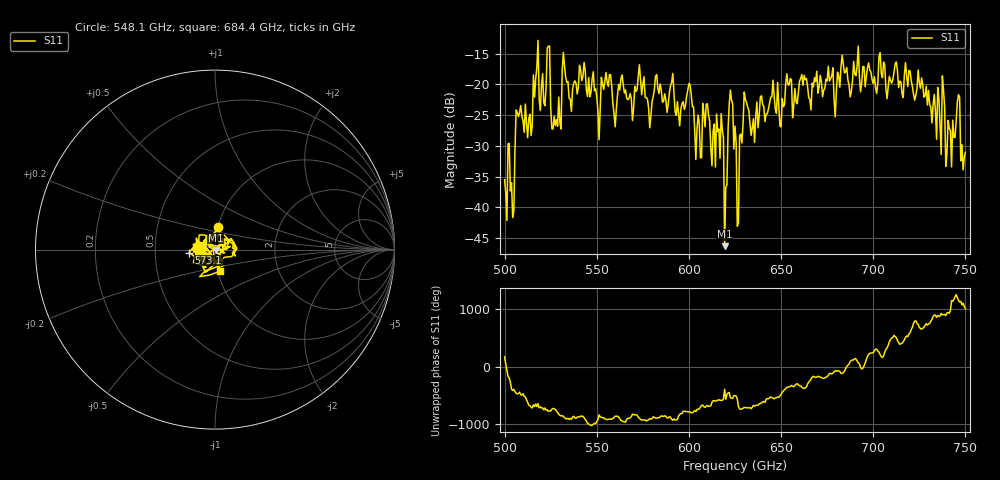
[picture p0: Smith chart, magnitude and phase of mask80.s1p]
!Created with skrf (http://scikit-rf.org).
# GHz S MA R 50.0
!freq magS11 angS11
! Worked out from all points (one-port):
!   401 points, 500 GHz to 750 GHz, reference 50 ohm
!   lowest |S11| = -46.3 dB at 619.4 GHz (marker M1), VSWR 1.01, Z = 50.4 - j0.26 ohm
!   |S11| at or under -10 dB: start of sweep to end of sweep
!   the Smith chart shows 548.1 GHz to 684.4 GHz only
!   S11 on the Smith chart (normalised r, x): 548.1 GHz: 1.01, +0.26; 573.1 GHz: 0.75, -0.02; 684.4 GHz: 1.02, -0.25
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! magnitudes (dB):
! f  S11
! 500 GHz  -35.5
! 504.4 GHz  -41.7
! 507.5 GHz  -25.2
! 513.8 GHz  -24.8
! 516.9 GHz  -19.0
! 520.6 GHz  -18.3
! 523.8 GHz  -13.8
! 526.9 GHz  -25.2
! 531.2 GHz  -17.8
! 548.1 GHz  -17.9
! 562.5 GHz  -20.9
! 573.1 GHz  -16.8
! 593.8 GHz  -22.8
! 608.8 GHz  -26.9
! 617.5 GHz  -24.8
! 619.4 GHz  -46.3
! 622.5 GHz  -20.9
! 625 GHz  -26.8
! 627.5 GHz  -28.3
! 631.2 GHz  -23.0
! 634.4 GHz  -27.1
! 656.2 GHz  -25.4
! 684.4 GHz  -18.1
! 687.5 GHz  -22.0
! 718.8 GHz  -20.3
! 740.6 GHz  -25.8
! 745.6 GHz  -22.9
! 750 GHz  -31.1
